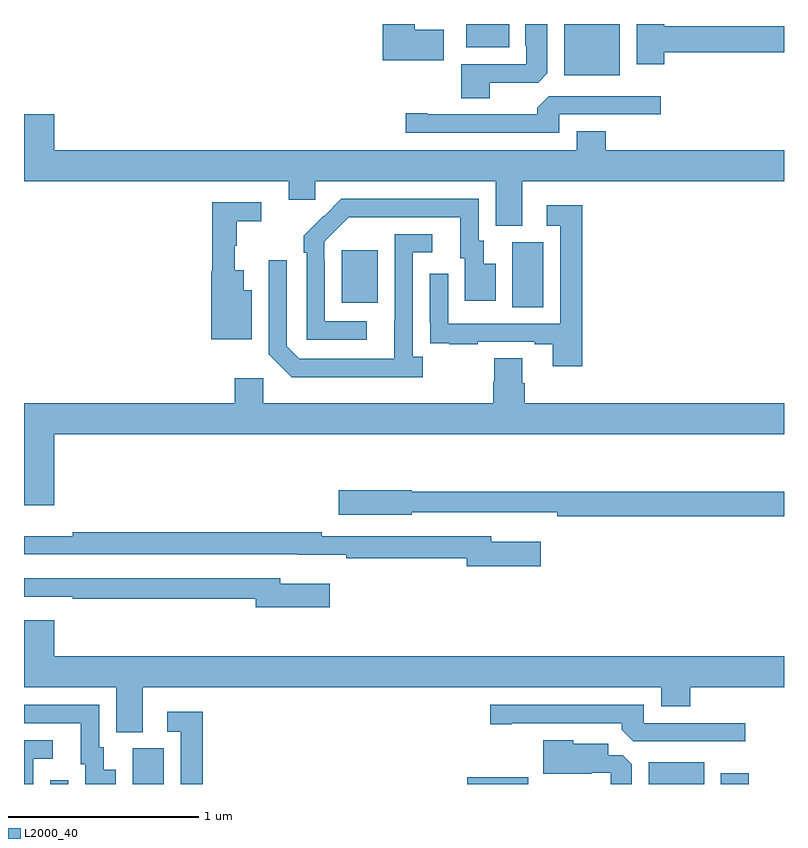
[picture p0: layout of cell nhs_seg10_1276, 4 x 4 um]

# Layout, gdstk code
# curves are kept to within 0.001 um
import gdstk
lib = gdstk.Library(unit=1e-6, precision=1e-09)
def R(c, l, rs):  # rectangles x0, y0, x1, y1
    for r in rs: c.add(gdstk.rectangle(r[:2], r[2:], *l))
def P(c, l, *ps):  # polygons
    for p in ps: c.add(gdstk.Polygon(p, *l))
L2000_40 = (2000, 40)

nhs_seg10_1276 = lib.new_cell('nhs_seg10_1276')
R(nhs_seg10_1276, L2000_40, [(177.138,1274.5,177.234,1274.521), (177.572,1274.5,177.736,1274.688), (179.333,1274.5,179.653,1274.536), (180.287,1274.5,180.58,1274.614), (180.668,1274.5,180.815,1274.557), (179.57,1277.008,179.734,1277.352), (178.673,1277.033,178.861,1277.308), (179.843,1278.23,180.136,1278.5), (179.327,1278.377,179.554,1278.5)])
P(nhs_seg10_1276, L2000_40, [(179.209,1278.471),(179.056,1278.471),(179.056,1278.5),(178.889,1278.5),(178.889,1278.308),(179.209,1278.308)],
  [(180.371,1278.352),(181,1278.352),(181,1278.488),(180.371,1278.488),(180.371,1278.5),(180.224,1278.5),(180.224,1278.288),(180.371,1278.288)],
  [(179.452,1278.192),(179.706,1278.192),(179.755,1278.241),(179.755,1278.5),(179.639,1278.5),(179.639,1278.385),(179.643,1278.385),(179.643,1278.288),(179.3,1278.288),(179.3,1278.109),(179.452,1278.109)],
  [(179.817,1278.024),(180.352,1278.024),(180.352,1278.12),(179.763,1278.12),(179.702,1278.058),(179.702,1278.024),(179.122,1278.024),(179.122,1278.029),(179.01,1278.029),(179.01,1277.928),(179.817,1277.928)],
  [(177.16,1278.025),(177,1278.025),(177,1277.672),(178.394,1277.672),(178.394,1277.574),(178.533,1277.574),(178.533,1277.672),(179.483,1277.672),(179.483,1277.437),(179.623,1277.437),(179.623,1277.672),(181,1277.672),(181,1277.836),(180.062,1277.836),(180.062,1277.935),(179.909,1277.935),(179.909,1277.836),(177.16,1277.836)],
  [(178.804,1276.935),(178.584,1276.935),(178.584,1277.255),(178.581,1277.255),(178.581,1277.355),(178.71,1277.484),(179.297,1277.484),(179.297,1277.268),(179.321,1277.268),(179.321,1277.043),(179.482,1277.043),(179.482,1277.239),(179.419,1277.239),(179.419,1277.358),(179.394,1277.358),(179.394,1277.58),(178.67,1277.58),(178.473,1277.385),(178.473,1277.297),(178.488,1277.297),(178.488,1276.839),(178.804,1276.839)],
  [(178.198,1277.098),(178.156,1277.098),(178.156,1277.203),(178.109,1277.203),(178.109,1277.334),(178.12,1277.334),(178.12,1277.461),(178.249,1277.461),(178.249,1277.562),(177.991,1277.562),(177.991,1277.199),(177.986,1277.199),(177.986,1276.841),(178.198,1276.841)],
  [(179.939,1277.545),(179.751,1277.545),(179.751,1277.439),(179.823,1277.439),(179.823,1276.923),(179.232,1276.923),(179.232,1277.185),(179.136,1277.185),(179.136,1276.93),(179.137,1276.93),(179.137,1276.821),(179.239,1276.821),(179.239,1276.815),(179.387,1276.815),(179.387,1276.827),(179.687,1276.827),(179.687,1276.815),(179.783,1276.815),(179.783,1276.698),(179.939,1276.698)],
  [(179.098,1276.75),(179.046,1276.75),(179.046,1277.298),(179.149,1277.298),(179.149,1277.394),(178.95,1277.394),(178.949,1276.737),(178.449,1276.737),(178.383,1276.803),(178.383,1277.257),(178.287,1277.257),(178.287,1276.761),(178.408,1276.64),(179.098,1276.64)],
  [(177.16,1276.34),(181,1276.34),(181,1276.504),(179.636,1276.504),(179.636,1276.61),(179.623,1276.61),(179.623,1276.742),(179.476,1276.742),(179.476,1276.617),(179.471,1276.617),(179.471,1276.504),(178.26,1276.504),(178.26,1276.636),(178.109,1276.636),(178.109,1276.504),(177,1276.504),(177,1275.966),(177.16,1275.966)],
  [(181,1276.039),(179.04,1276.039),(179.04,1276.047),(178.656,1276.047),(178.656,1275.917),(179.04,1275.917),(179.04,1275.93),(179.554,1275.93),(179.554,1275.929),(179.806,1275.929),(179.806,1275.91),(181,1275.91)],
  [(179.719,1275.775),(179.458,1275.775),(179.458,1275.804),(178.568,1275.804),(178.568,1275.824),(177.256,1275.824),(177.256,1275.805),(177,1275.805),(177,1275.708),(178.444,1275.708),(178.444,1275.707),(178.696,1275.707),(178.696,1275.688),(179.33,1275.688),(179.33,1275.646),(179.719,1275.646)],
  [(178.609,1275.553),(178.348,1275.553),(178.348,1275.582),(177,1275.582),(177,1275.486),(177.256,1275.486),(177.256,1275.474),(178.22,1275.474),(178.22,1275.431),(178.609,1275.431)],
  [(177.625,1275.008),(180.353,1275.008),(180.353,1274.909),(180.506,1274.909),(180.506,1275.008),(181,1275.008),(181,1275.172),(177.16,1275.172),(177.16,1275.361),(177,1275.361),(177,1275.008),(177.485,1275.008),(177.485,1274.773),(177.625,1274.773)],
  [(177.484,1274.575),(177.421,1274.575),(177.421,1274.694),(177.396,1274.694),(177.396,1274.916),(177,1274.916),(177,1274.82),(177.299,1274.82),(177.299,1274.604),(177.323,1274.604),(177.323,1274.5),(177.484,1274.5)],
  [(180.796,1274.82),(180.261,1274.82),(180.261,1274.916),(179.454,1274.916),(179.454,1274.815),(179.566,1274.815),(179.566,1274.82),(180.146,1274.82),(180.146,1274.786),(180.207,1274.724),(180.796,1274.724)],
  [(177.941,1274.881),(177.753,1274.881),(177.753,1274.775),(177.825,1274.775),(177.825,1274.5),(177.941,1274.5)],
  [(180.199,1274.603),(180.15,1274.652),(180.076,1274.652),(180.076,1274.713),(179.892,1274.713),(179.892,1274.731),(179.732,1274.731),(179.732,1274.555),(179.987,1274.555),(179.987,1274.559),(180.087,1274.559),(180.087,1274.5),(180.199,1274.5)],
  [(177.048,1274.634),(177.151,1274.634),(177.151,1274.73),(177,1274.73),(177,1274.5),(177.048,1274.5)])

lib.write_gds('nhs_seg10_1276.gds')
